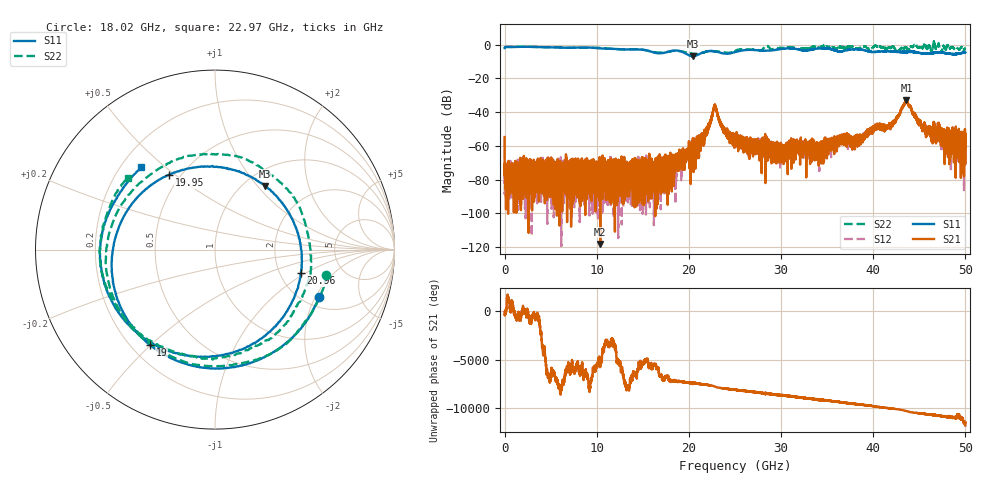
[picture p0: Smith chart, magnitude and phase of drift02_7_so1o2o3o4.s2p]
!Created with skrf (http://scikit-rf.org).
# Hz S RI R 50.0
!freq ReS11 ImS11 ReS21 ImS21 ReS12 ImS12 ReS22 ImS22
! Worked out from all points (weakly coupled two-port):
!   10001 points, 300 kHz to 50 GHz, reference 50 ohm
!   highest |S21| = -32.78 dB at 43.61 GHz (marker M1); lowest = -118.1 dB at 10.38 GHz (marker M2)
!   lowest |S11| = -6.9 dB at 20.45 GHz (marker M3), VSWR 2.64, Z = 61.3 + j54.6 ohm
!   |S11| at or under -10 dB: nowhere
!   |S22| runs from -5.7 to 2.4 dB; largest |S21 - S12| = 0.0035
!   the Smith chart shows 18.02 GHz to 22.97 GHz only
!   S11 on the Smith chart (normalised r, x): 18.02 GHz: 2.42, -2.14; 19 GHz: 0.27, -0.50; 19.95 GHz: 0.43, +0.47; 20.96 GHz: 2.61, -0.91; 22.97 GHz: 0.28, +0.42
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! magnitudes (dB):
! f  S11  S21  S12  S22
! 300 kHz  -2.1  -54.8  -55.2  -2.1
! 295.3 MHz  -1.4  -74.5  -80.8  -1.4
! 8.335 GHz  -1.7  -74.6  -77.6  -1.9
! 10.38 GHz  -2.3  -118.1  -82.6  -2.0
! 16.67 GHz  -5.2  -79.5  -74.6  -4.8
! 18.02 GHz  -3.9  -73.8  -68.9  -3.9
! 19 GHz  -3.8  -65.1  -66.0  -3.9
! 19.95 GHz  -6.2  -63.1  -62.3  -5.2
! 20.45 GHz  -6.9  -60.8  -60.5  -5.5
! 20.96 GHz  -6.1  -56.0  -57.4  -5.6
! 22.7 GHz  -4.1  -37.7  -37.3  -3.9
! 22.97 GHz  -4.2  -38.7  -38.4  -4.0
! 23.7 GHz  -5.2  -49.6  -49.8  -4.6
! 25 GHz  -4.5  -56.1  -57.0  -3.9
! 29.65 GHz  -2.9  -61.5  -63.7  -2.2
! 33.34 GHz  -3.0  -62.1  -59.6  -1.5
! 38.07 GHz  -2.8  -57.5  -57.9  -2.3
! 41.67 GHz  -4.0  -48.6  -48.1  -1.8
! 43.61 GHz  -4.4  -32.8  -33.4  -1.6
! 45.59 GHz  -5.2  -49.3  -47.9  0.2
! 49.63 GHz  -5.0  -59.6  -55.3  -1.5
! 50 GHz  -4.7  -57.8  -53.9  -2.6
